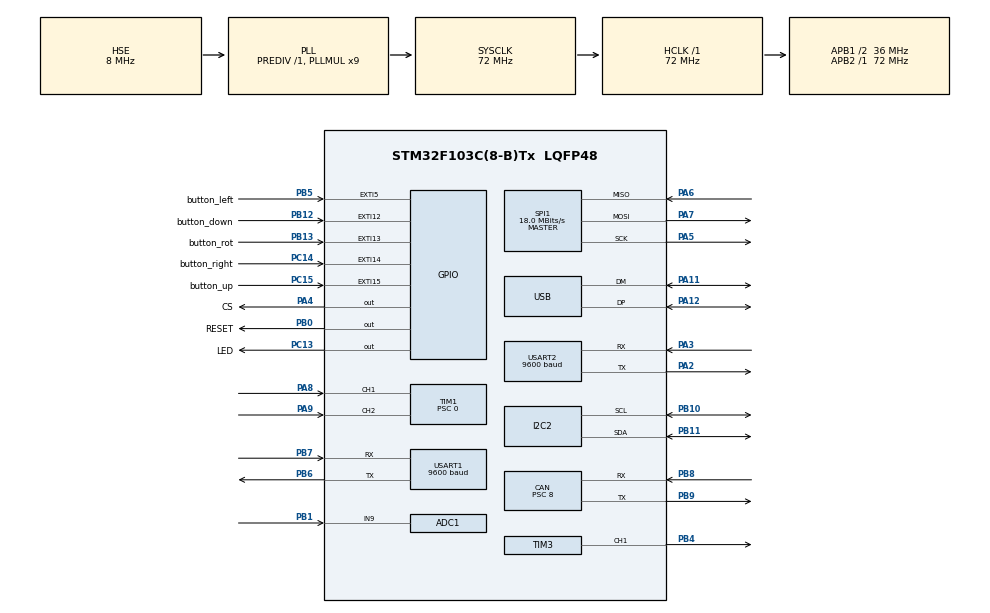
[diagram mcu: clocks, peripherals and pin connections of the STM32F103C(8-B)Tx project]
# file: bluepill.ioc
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ADC1.Channel-23\#ChannelRegularConversion=ADC_CHANNEL_TEMPSENSOR
ADC1.Channel-24\#ChannelRegularConversion=ADC_CHANNEL_VREFINT
ADC1.Channel-25\#ChannelRegularConversion=ADC_CHANNEL_9
ADC1.ContinuousConvMode=ENABLE
ADC1.NbrOfConversion=3
ADC1.NbrOfConversionFlag=1
ADC1.Rank-23\#ChannelRegularConversion=1
ADC1.Rank-24\#ChannelRegularConversion=2
ADC1.Rank-25\#ChannelRegularConversion=3
ADC1.SamplingTime-23\#ChannelRegularConversion=ADC_SAMPLETIME_71CYCLES_5
ADC1.SamplingTime-24\#ChannelRegularConversion=ADC_SAMPLETIME_239CYCLES_5
ADC1.SamplingTime-25\#ChannelRegularConversion=ADC_SAMPLETIME_1CYCLE_5
ADC1.master=1
CAN.BS1=CAN_BS1_7TQ
CAN.CalculateBaudRate=500000
CAN.CalculateTimeBit=2000
CAN.CalculateTimeQuantum=222.22222222222223
CAN.Prescaler=8
Dma.ADC1.1.Direction=DMA_PERIPH_TO_MEMORY
Dma.ADC1.1.Instance=DMA1_Channel1
Dma.ADC1.1.MemDataAlignment=DMA_MDATAALIGN_WORD
Dma.ADC1.1.MemInc=DMA_MINC_ENABLE
Dma.ADC1.1.Mode=DMA_CIRCULAR
Dma.ADC1.1.PeriphDataAlignment=DMA_PDATAALIGN_WORD
Dma.ADC1.1.PeriphInc=DMA_PINC_DISABLE
Dma.ADC1.1.Priority=DMA_PRIORITY_MEDIUM
Dma.I2C2_TX.0.Direction=DMA_MEMORY_TO_PERIPH
Dma.I2C2_TX.0.Instance=DMA1_Channel4
Dma.I2C2_TX.0.MemDataAlignment=DMA_MDATAALIGN_BYTE
Dma.I2C2_TX.0.MemInc=DMA_MINC_ENABLE
Dma.I2C2_TX.0.Mode=DMA_NORMAL
Dma.I2C2_TX.0.PeriphDataAlignment=DMA_PDATAALIGN_BYTE
Dma.I2C2_TX.0.PeriphInc=DMA_PINC_DISABLE
Dma.I2C2_TX.0.Priority=DMA_PRIORITY_HIGH
Dma.Request0=I2C2_TX
Dma.Request1=ADC1
Dma.Request2=USART1_RX
Dma.Request3=USART2_RX
Dma.USART1_RX.2.Direction=DMA_PERIPH_TO_MEMORY
Dma.USART1_RX.2.Instance=DMA1_Channel5
Dma.USART1_RX.2.MemDataAlignment=DMA_MDATAALIGN_BYTE
Dma.USART1_RX.2.MemInc=DMA_MINC_ENABLE
Dma.USART1_RX.2.Mode=DMA_NORMAL
Dma.USART1_RX.2.PeriphDataAlignment=DMA_PDATAALIGN_BYTE
Dma.USART1_RX.2.PeriphInc=DMA_PINC_DISABLE
Dma.USART1_RX.2.Priority=DMA_PRIORITY_LOW
Dma.USART2_RX.3.Direction=DMA_PERIPH_TO_MEMORY
Dma.USART2_RX.3.Instance=DMA1_Channel6
Dma.USART2_RX.3.MemDataAlignment=DMA_MDATAALIGN_BYTE
Dma.USART2_RX.3.MemInc=DMA_MINC_ENABLE
Dma.USART2_RX.3.Mode=DMA_NORMAL
Dma.USART2_RX.3.PeriphDataAlignment=DMA_PDATAALIGN_BYTE
Dma.USART2_RX.3.PeriphInc=DMA_PINC_DISABLE
Dma.USART2_RX.3.Priority=DMA_PRIORITY_LOW
FREERTOS.Tasks01=defaultTask,24,128,StartDefaultTask,Default,NULL,Static,defaultTaskBuffer,defaultTaskControlBlock
FREERTOS.configCHECK_FOR_STACK_OVERFLOW=2
FREERTOS.configUSE_IDLE_HOOK=1
FREERTOS.configUSE_MALLOC_FAILED_HOOK=1
FREERTOS.configUSE_NEWLIB_REENTRANT=0
FREERTOS.configUSE_TICK_HOOK=1
I2C2.I2C_Mode=I2C_Fast
IWDG.Prescaler=IWDG_PRESCALER_64
IWDG.Reload=4000
Mcu.Family=STM32F1
Mcu.Name=STM32F103C(8-B)Tx
Mcu.Package=LQFP48
NVIC.CAN1_RX1_IRQn=true\:5\:0\:false\:false\:true\:true\:true\:true\:true
NVIC.DMA1_Channel1_IRQn=true\:5\:0\:false\:false\:true\:true\:false\:true\:true
NVIC.DMA1_Channel4_IRQn=true\:5\:0\:false\:false\:true\:true\:false\:true\:true
NVIC.DMA1_Channel5_IRQn=true\:5\:0\:false\:false\:true\:true\:false\:true\:true
NVIC.DMA1_Channel6_IRQn=true\:5\:0\:false\:false\:true\:true\:false\:true\:true
NVIC.EXTI15_10_IRQn=true\:8\:0\:true\:false\:true\:true\:true\:true\:true
NVIC.EXTI9_5_IRQn=true\:8\:0\:true\:false\:true\:true\:true\:true\:true
NVIC.I2C2_EV_IRQn=true\:6\:0\:true\:false\:true\:true\:true\:true\:true
NVIC.PriorityGroup=NVIC_PRIORITYGROUP_4
NVIC.RTC_IRQn=true\:10\:0\:true\:false\:true\:true\:true\:true\:true
NVIC.TIM1_CC_IRQn=true\:5\:0\:false\:false\:true\:true\:true\:true\:true
NVIC.TIM3_IRQn=true\:5\:0\:false\:false\:true\:true\:true\:true\:true
NVIC.TIM4_IRQn=true\:15\:0\:false\:false\:true\:false\:false\:true\:true
NVIC.TimeBase=TIM4_IRQn
NVIC.TimeBaseIP=TIM4
NVIC.USART1_IRQn=true\:5\:0\:false\:false\:true\:true\:true\:true\:true
NVIC.USART2_IRQn=true\:5\:0\:false\:false\:true\:true\:true\:true\:true
NVIC.USB_LP_CAN1_RX0_IRQn=true\:5\:0\:false\:false\:true\:true\:false\:true\:true
PA11.Mode=Device
PA11.Signal=USB_DM
PA12.Mode=Device
PA12.Signal=USB_DP
PA13.Mode=Serial_Wire
PA13.Signal=SYS_JTMS-SWDIO
PA14.Mode=Serial_Wire
PA14.Signal=SYS_JTCK-SWCLK
PA2.Mode=Asynchronous
PA2.Signal=USART2_TX
PA3.GPIO_PuPd=GPIO_PULLUP
PA3.Mode=Asynchronous
PA3.Signal=USART2_RX
PA4.GPIO_Label=CS
PA4.Signal=GPIO_Output
PA5.Mode=Full_Duplex_Master
PA5.Signal=SPI1_SCK
PA6.Mode=Full_Duplex_Master
PA6.Signal=SPI1_MISO
PA7.Mode=Full_Duplex_Master
PA7.Signal=SPI1_MOSI
PA8.GPIO_PuPd=GPIO_PULLUP
PA8.Signal=S_TIM1_CH1
PA9.GPIO_PuPd=GPIO_PULLUP
PA9.Signal=S_TIM1_CH2
PB0.GPIO_Label=RESET
PB0.Signal=GPIO_Output
PB1.Signal=ADCx_IN9
PB10.Mode=I2C
PB10.Signal=I2C2_SCL
PB11.Mode=I2C
PB11.Signal=I2C2_SDA
PB12.GPIO_Label=button_down
PB12.GPIO_PuPd=GPIO_PULLDOWN
PB12.Signal=GPXTI12
PB13.GPIO_Label=button_rot
PB13.GPIO_PuPd=GPIO_PULLDOWN
PB13.Signal=GPXTI13
PB4.GPIO_Speed=GPIO_SPEED_FREQ_HIGH
PB4.Signal=S_TIM3_CH1
PB5.GPIO_Label=button_left
PB5.GPIO_PuPd=GPIO_PULLDOWN
PB5.Signal=GPXTI5
PB6.Mode=Asynchronous
PB6.Signal=USART1_TX
PB7.GPIO_PuPd=GPIO_PULLUP
PB7.Mode=Asynchronous
PB7.Signal=USART1_RX
PB8.GPIO_PuPd=GPIO_PULLUP
PB8.Mode=CAN_Activate
PB8.Signal=CAN_RX
PB9.Mode=CAN_Activate
PB9.Signal=CAN_TX
PC13-TAMPER-RTC.GPIO_Label=LED
PC13-TAMPER-RTC.Signal=GPIO_Output
PC14-OSC32_IN.GPIO_Label=button_right
PC14-OSC32_IN.GPIO_PuPd=GPIO_PULLDOWN
PC14-OSC32_IN.Signal=GPXTI14
PC15-OSC32_OUT.GPIO_Label=button_up
PC15-OSC32_OUT.GPIO_PuPd=GPIO_PULLDOWN
PC15-OSC32_OUT.Signal=GPXTI15
PD0-OSC_IN.Mode=HSE-External-Oscillator
PD0-OSC_IN.Signal=RCC_OSC_IN
PD1-OSC_OUT.Mode=HSE-External-Oscillator
PD1-OSC_OUT.Signal=RCC_OSC_OUT
ProjectManager.HeapSize=0x200
ProjectManager.StackSize=0x400
ProjectManager.TargetToolchain=STM32CubeIDE
RCC.ADCPresc=RCC_ADCPCLK2_DIV8
RCC.AHBFreq_Value=72000000
RCC.APB1CLKDivider=RCC_HCLK_DIV2
RCC.APB1Freq_Value=36000000
RCC.APB1TimFreq_Value=72000000
RCC.APB2Freq_Value=72000000
RCC.APB2TimFreq_Value=72000000
RCC.HCLKFreq_Value=72000000
RCC.PLLMUL=RCC_PLL_MUL9
RCC.PLLSourceVirtual=RCC_PLLSOURCE_HSE
RCC.SYSCLKFreq_VALUE=72000000
RCC.SYSCLKSource=RCC_SYSCLKSOURCE_PLLCLK
RCC.USBFreq_Value=48000000
RCC.USBPrescaler=RCC_USBCLKSOURCE_PLL_DIV1_5
RTC.Date=1
RTC.Format=RTC_FORMAT_BIN
RTC.Hours=0
RTC.Minutes=0
RTC.Month=RTC_MONTH_JANUARY
RTC.Seconds=0
RTC.Year=0
SH.ADCx_IN9.0=ADC1_IN9,IN9
SH.S_TIM1_CH1.0=TIM1_CH1,Encoder_Interface
SH.S_TIM1_CH2.0=TIM1_CH2,Encoder_Interface
SH.S_TIM3_CH1.0=TIM3_CH1,PWM Generation1 CH1
SPI1.BaudRatePrescaler=SPI_BAUDRATEPRESCALER_4
SPI1.CalculateBaudRate=18.0 MBits/s
SPI1.Direction=SPI_DIRECTION_2LINES
SPI1.Mode=SPI_MODE_MASTER
SPI1.VirtualType=VM_MASTER
TIM1.EncoderMode=TIM_ENCODERMODE_TI12
TIM1.IC1Filter=10
TIM1.IC1Polarity=TIM_ICPOLARITY_FALLING
TIM1.IC2Polarity=TIM_ICPOLARITY_FALLING
TIM1.Prescaler=0
TIM3.Channel-PWM\ Generation1\ CH1=TIM_CHANNEL_1
TIM3.Prescaler=72-1
USART1.BaudRate=9600
USART1.VirtualMode=VM_ASYNC
USART2.BaudRate=9600
USART2.VirtualMode=VM_ASYNC
USB_DEVICE.APP_RX_DATA_SIZE=128
USB_DEVICE.APP_TX_DATA_SIZE=128
USB_DEVICE.CLASS_NAME_FS=CDC
USB_DEVICE.USBD_MAX_STR_DESC_SIZ=128
USB_DEVICE.VirtualMode=Cdc
USB_DEVICE.VirtualModeFS=Cdc_FS
VP_ADC1_TempSens_Input.Mode=IN-TempSens
VP_ADC1_Vref_Input.Mode=IN-Vrefint
VP_CRC_VS_CRC.Mode=CRC_Activate
VP_FREERTOS_VS_CMSIS_V2.Mode=CMSIS_V2
VP_IWDG_VS_IWDG.Mode=IWDG_Activate
VP_RTC_No_RTC_Output.Mode=RTC_OUT_NO
VP_RTC_VS_RTC_Activate.Mode=RTC_Enabled
VP_SYS_VS_tim4.Mode=TIM4
VP_USB_DEVICE_VS_USB_DEVICE_CDC_FS.Mode=CDC_FS
board=custom

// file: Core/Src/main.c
/* USER CODE BEGIN Header */
/**
  ******************************************************************************
  * @file           : main.c
  * @brief          : Main program body
  ******************************************************************************
  * @attention
  *
  * Copyright (c) 2022 STMicroelectronics.
  * All rights reserved.
  *
  * This software is licensed under terms that can be found in the LICENSE file
  * in the root directory of this software component.
  * If no LICENSE file comes with this software, it is provided AS-IS.
  *
  ******************************************************************************
  */
/* USER CODE END Header */
#include "main.h"
#include "cmsis_os.h"
#include "adc.h"
#include "can.h"
#include "crc.h"
#include "dma.h"
#include "i2c.h"
#include "iwdg.h"
#include "rtc.h"
#include "spi.h"
#include "tim.h"
#include "usart.h"
#include "usb_device.h"
#include "gpio.h"

void SystemClock_Config(void);
void MX_FREERTOS_Init(void);
/* USER CODE BEGIN PFP */
__weak void project_init() {}
/* USER CODE END PFP */

int main(void)
{

  /* MCU Configuration--------------------------------------------------------*/

  /* Reset of all peripherals, Initializes the Flash interface and the Systick. */
  HAL_Init();

  /* Configure the system clock */
  SystemClock_Config();

  /* Initialize all configured peripherals */
  MX_GPIO_Init();
  MX_DMA_Init();
  MX_ADC1_Init();
  MX_I2C2_Init();
  MX_CAN_Init();
  MX_CRC_Init();
  MX_RTC_Init();
  MX_USART1_UART_Init();
  MX_USART2_UART_Init();
  MX_TIM1_Init();
  MX_TIM3_Init();
  MX_SPI1_Init();
  MX_IWDG_Init();
  /* USER CODE BEGIN 2 */
  project_init();
  /* USER CODE END 2 */

  /* Init scheduler */
  osKernelInitialize();  /* Call init function for freertos objects (in freertos.c) */
  MX_FREERTOS_Init();

  /* Start scheduler */
  osKernelStart();

  /* We should never get here as control is now taken by the scheduler */
  /* Infinite loop */
  while (1)
  {

  }
}

void SystemClock_Config(void)
{
  RCC_OscInitTypeDef RCC_OscInitStruct = {0};
  RCC_ClkInitTypeDef RCC_ClkInitStruct = {0};
  RCC_PeriphCLKInitTypeDef PeriphClkInit = {0};

  /** Initializes the RCC Oscillators according to the specified parameters
  * in the RCC_OscInitTypeDef structure.
  */
  RCC_OscInitStruct.OscillatorType = RCC_OSCILLATORTYPE_LSI|RCC_OSCILLATORTYPE_HSE;
  RCC_OscInitStruct.HSEState = RCC_HSE_ON;
  RCC_OscInitStruct.HSEPredivValue = RCC_HSE_PREDIV_DIV1;
  RCC_OscInitStruct.HSIState = RCC_HSI_ON;
  RCC_OscInitStruct.LSIState = RCC_LSI_ON;
  RCC_OscInitStruct.PLL.PLLState = RCC_PLL_ON;
  RCC_OscInitStruct.PLL.PLLSource = RCC_PLLSOURCE_HSE;
  RCC_OscInitStruct.PLL.PLLMUL = RCC_PLL_MUL9;
  if (HAL_RCC_OscConfig(&RCC_OscInitStruct) != HAL_OK)
  {
    Error_Handler();
  }

  /** Initializes the CPU, AHB and APB buses clocks
  */
  RCC_ClkInitStruct.ClockType = RCC_CLOCKTYPE_HCLK|RCC_CLOCKTYPE_SYSCLK
                              |RCC_CLOCKTYPE_PCLK1|RCC_CLOCKTYPE_PCLK2;
  RCC_ClkInitStruct.SYSCLKSource = RCC_SYSCLKSOURCE_PLLCLK;
  RCC_ClkInitStruct.AHBCLKDivider = RCC_SYSCLK_DIV1;
  RCC_ClkInitStruct.APB1CLKDivider = RCC_HCLK_DIV2;
  RCC_ClkInitStruct.APB2CLKDivider = RCC_HCLK_DIV1;

  if (HAL_RCC_ClockConfig(&RCC_ClkInitStruct, FLASH_LATENCY_2) != HAL_OK)
  {
    Error_Handler();
  }
  PeriphClkInit.PeriphClockSelection = RCC_PERIPHCLK_RTC|RCC_PERIPHCLK_ADC
                              |RCC_PERIPHCLK_USB;
  PeriphClkInit.RTCClockSelection = RCC_RTCCLKSOURCE_LSI;
  PeriphClkInit.AdcClockSelection = RCC_ADCPCLK2_DIV8;
  PeriphClkInit.UsbClockSelection = RCC_USBCLKSOURCE_PLL_DIV1_5;
  if (HAL_RCCEx_PeriphCLKConfig(&PeriphClkInit) != HAL_OK)
  {
    Error_Handler();
  }
}

void HAL_TIM_PeriodElapsedCallback(TIM_HandleTypeDef *htim)
{
  if (htim->Instance == TIM4) {
    HAL_IncTick();
  }
}

void Error_Handler(void)
{
  __disable_irq();
  while (1)
  {
  }
}

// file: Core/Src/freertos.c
/* USER CODE BEGIN Header */
/**
  ******************************************************************************
  * File Name          : freertos.c
  * Description        : Code for freertos applications
  ******************************************************************************
  * @attention
  *
  * Copyright (c) 2022 STMicroelectronics.
  * All rights reserved.
  *
  * This software is licensed under terms that can be found in the LICENSE file
  * in the root directory of this software component.
  * If no LICENSE file comes with this software, it is provided AS-IS.
  *
  ******************************************************************************
  */
/* USER CODE END Header */

#include "FreeRTOS.h"
#include "task.h"
#include "main.h"
#include "cmsis_os.h"

/* USER CODE BEGIN Includes */
#include "iwdg.h"
/* USER CODE END Includes */

typedef StaticTask_t osStaticThreadDef_t;

/* USER CODE BEGIN Variables */
char blinkSymbols[16] = "1010";
int blinkIsRunning = 1;
uint32_t blinkDelay = 150;
__weak void panic(const char* msg) { UNUSED(msg); }

/* USER CODE END Variables */
/* Definitions for defaultTask */
osThreadId_t defaultTaskHandle;
uint32_t defaultTaskBuffer[ 128 ];
osStaticThreadDef_t defaultTaskControlBlock;
const osThreadAttr_t defaultTask_attributes = {
  .name = "defaultTask",
  .cb_mem = &defaultTaskControlBlock,
  .cb_size = sizeof(defaultTaskControlBlock),
  .stack_mem = &defaultTaskBuffer[0],
  .stack_size = sizeof(defaultTaskBuffer),
  .priority = (osPriority_t) osPriorityNormal,
};

void StartDefaultTask(void *argument);

extern void MX_USB_DEVICE_Init(void);
void MX_FREERTOS_Init(void); /* (MISRA C 2004 rule 8.1) */

/* Hook prototypes */
void vApplicationIdleHook(void);
void vApplicationTickHook(void);
void vApplicationStackOverflowHook(xTaskHandle xTask, signed char *pcTaskName);
void vApplicationMallocFailedHook(void);

/* USER CODE BEGIN 2 */
void vApplicationIdleHook( void )
{
   /* vApplicationIdleHook() will only be called if configUSE_IDLE_HOOK is set
   to 1 in FreeRTOSConfig.h. It will be called on each iteration of the idle
   task. It is essential that code added to this hook function never attempts
   to block in any way (for example, call xQueueReceive() with a block time
   specified, or call vTaskDelay()). If the application makes use of the
   vTaskDelete() API function (as this demo application does) then it is also
   important that vApplicationIdleHook() is permitted to return to its calling
   function, because it is the responsibility of the idle task to clean up
   memory allocated by the kernel to any task that has since been deleted. */
  HAL_IWDG_Refresh(&hiwdg);
}
/* USER CODE END 2 */

/* USER CODE BEGIN 3 */
void vApplicationTickHook( void )
{
   /* This function will be called by each tick interrupt if
   configUSE_TICK_HOOK is set to 1 in FreeRTOSConfig.h. User code can be
   added here, but the tick hook is called from an interrupt context, so
   code must not attempt to block, and only the interrupt safe FreeRTOS API
   functions can be used (those that end in FromISR()). */
}
/* USER CODE END 3 */

/* USER CODE BEGIN 4 */
void vApplicationStackOverflowHook(xTaskHandle xTask, signed char *pcTaskName)
{
   /* Run time stack overflow checking is performed if
   configCHECK_FOR_STACK_OVERFLOW is defined to 1 or 2. This hook function is
   called if a stack overflow is detected. */

   UNUSED(xTask);
   char msg[64] = "Stack overflow on thread ";
   for (int i = 26; i < 63; ++i) {
    char ch = pcTaskName[i-24];
    msg[i] = ch;

    if (ch == '\0') break;
   }
   panic(msg);
}
/* USER CODE END 4 */

/* USER CODE BEGIN 5 */
void vApplicationMallocFailedHook(void)
{
   /* vApplicationMallocFailedHook() will only be called if
   configUSE_MALLOC_FAILED_HOOK is set to 1 in FreeRTOSConfig.h. It is a hook
   function that will get called if a call to pvPortMalloc() fails.
   pvPortMalloc() is called internally by the kernel whenever a task, queue,
   timer or semaphore is created. It is also called by various parts of the
   demo application. If heap_1.c or heap_2.c are used, then the size of the
   heap available to pvPortMalloc() is defined by configTOTAL_HEAP_SIZE in
   FreeRTOSConfig.h, and the xPortGetFreeHeapSize() API function can be used
   to query the size of free heap space that remains (although it does not
   provide information on how the remaining heap might be fragmented). */
   panic("Fail to allocate dynamic memory");
}
/* USER CODE END 5 */

void MX_FREERTOS_Init(void) {

  /* Create the thread(s) */
  /* creation of defaultTask */
  defaultTaskHandle = osThreadNew(StartDefaultTask, NULL, &defaultTask_attributes);

}

void StartDefaultTask(void *argument)
{
  /* init code for USB_DEVICE */
  MX_USB_DEVICE_Init();
  /* USER CODE BEGIN StartDefaultTask */
  HAL_GPIO_WritePin(LED_GPIO_Port, LED_Pin, GPIO_PIN_SET);
  /* Infinite loop */
  while (blinkIsRunning)
  {
    for (size_t i = 0; i < sizeof(blinkSymbols); i++) {
      if (blinkSymbols[i] == '\0') break;
      switch (blinkSymbols[i]) {
        case '1': HAL_GPIO_WritePin(LED_GPIO_Port, LED_Pin, GPIO_PIN_RESET); osDelay(blinkDelay); break;
        case '0': HAL_GPIO_WritePin(LED_GPIO_Port, LED_Pin, GPIO_PIN_SET); osDelay(blinkDelay); break;
        default: break;
      }
    }
    osDelay(500);
  }

  osThreadExit();
  /* USER CODE END StartDefaultTask */
}
